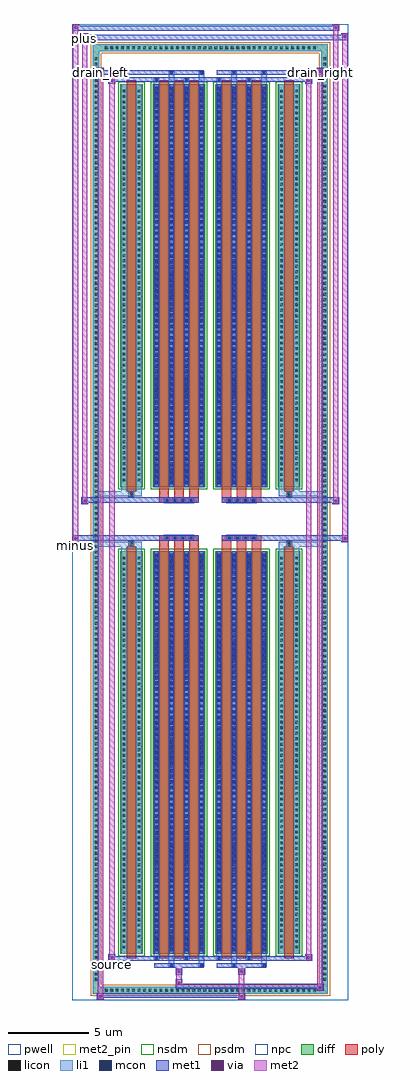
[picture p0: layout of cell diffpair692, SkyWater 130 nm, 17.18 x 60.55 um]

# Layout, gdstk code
import gdstk
lib = gdstk.Library(unit=1e-6, precision=5e-09)
def R(c, l, rs):  # rectangles x0, y0, x1, y1
    for r in rs: c.add(gdstk.rectangle(r[:2], r[2:], *l))
def A(c, l, x, y, w, h, nx, ny, dx, dy):  # array of equal rectangles
    R(c, l, [(x+i*dx, y+j*dy, x+i*dx+w, y+j*dy+h) for i in range(nx) for j in range(ny)])
def P(c, l, *ps):  # polygons
    for p in ps: c.add(gdstk.Polygon(p, *l))
pwell = (64, 44)
diff = (65, 20)
poly = (66, 20)
licon = (66, 44)
li1 = (67, 20)
mcon = (67, 44)
met1 = (68, 20)
via = (68, 44)
met2_pin = (69, 16)
met2 = (69, 20)
nsdm = (93, 44)
psdm = (94, 20)
npc = (95, 20)

diffpair692 = lib.new_cell('diffpair692')
R(diffpair692, pwell, [(-8.57,-29.84,8.57,30.71), (-5.89,-28.03,-0.01,-0.805), (0.01,-28.03,5.89,-0.805), (-5.89,0.805,-0.01,28.03), (0.01,0.805,5.89,28.03)])
A(diffpair692, diff, -6.665, -29.44, 0.41, 0.41, 39, 2, 0.34, 58.47)
A(diffpair692, diff, -7.3, -28.765, 0.41, 0.41, 1, 169, 0, 0.34)
A(diffpair692, diff, 6.89, -28.765, 0.41, 0.41, 1, 169, 0, 0.34)
R(diffpair692, diff, [(-6.665,-29.44,6.665,-29.03), (-7.3,-28.765,-6.89,28.765), (6.89,-28.765,7.3,28.765), (-5.58,-26.985,-4.2,-1.985), (-3.56,-26.985,-0.32,-1.985), (0.32,-26.985,3.56,-1.985), (4.2,-26.985,5.58,-1.985), (-5.58,1.985,-4.2,26.985), (-3.56,1.985,-0.32,26.985), (0.32,1.985,3.56,26.985), (4.2,1.985,5.58,26.985), (-6.665,29.03,6.665,29.44)])
P(diffpair692, diff, [(7.3,29.44),(-7.3,29.44),(-7.3,-29.03),(-6.89,-29.03),(-6.89,29.03),(6.89,29.03),(6.89,-29.03),(-6.89,-29.03),(-7.3,-29.03),(-7.3,-29.44),(7.3,-29.44)])
A(diffpair692, poly, -3.17, -27.235, 0.6, 25.5, 3, 2, 0.93, 28.97)
A(diffpair692, poly, 0.71, -27.235, 0.6, 25.5, 3, 2, 0.93, 28.97)
A(diffpair692, poly, -3.17, -1.735, 0.6, 0.4, 3, 2, 0.93, 3.07)
A(diffpair692, poly, 0.71, -1.735, 0.6, 0.4, 3, 2, 0.93, 3.07)
A(diffpair692, poly, -2.855, -1.335, 0.33, 0.33, 4, 2, 0.5, 2.34)
A(diffpair692, poly, 1.025, -1.335, 0.33, 0.33, 4, 2, 0.5, 2.34)
R(diffpair692, poly, [(-5.19,-27.235,-4.59,-1.735), (4.59,-27.235,5.19,-1.735), (-5.055,-1.735,-4.725,-1.405), (-5.055,-1.735,-4.725,-1.405), (4.725,-1.735,5.055,-1.405), (4.725,-1.735,5.055,-1.405), (-3.17,-1.335,-0.71,-1.005), (0.71,-1.335,3.17,-1.005), (-3.17,1.005,-0.71,1.335), (0.71,1.005,3.17,1.335), (-5.055,1.405,-4.725,1.735), (-5.055,1.405,-4.725,1.735), (4.725,1.405,5.055,1.735), (4.725,1.405,5.055,1.735), (-5.19,1.735,-4.59,27.235), (4.59,1.735,5.19,27.235)])
A(diffpair692, licon, -6.545, -29.32, 0.17, 0.17, 39, 2, 0.34, 58.47)
A(diffpair692, licon, -7.18, -28.645, 0.17, 0.17, 1, 169, 0, 0.34)
A(diffpair692, licon, 7.01, -28.645, 0.17, 0.17, 1, 169, 0, 0.34)
A(diffpair692, licon, -5.44, -26.64, 0.17, 0.17, 1, 72, 0, 0.34)
A(diffpair692, licon, -4.51, -26.64, 0.17, 0.17, 1, 72, 0, 0.34)
A(diffpair692, licon, -3.42, -26.64, 0.17, 0.17, 4, 72, 0.93, 0.34)
A(diffpair692, licon, 0.46, -26.64, 0.17, 0.17, 4, 72, 0.93, 0.34)
A(diffpair692, licon, 4.34, -26.64, 0.17, 0.17, 1, 72, 0, 0.34)
A(diffpair692, licon, 5.27, -26.64, 0.17, 0.17, 1, 72, 0, 0.34)
A(diffpair692, licon, -2.775, -1.255, 0.17, 0.17, 4, 2, 0.5, 2.34)
A(diffpair692, licon, 1.105, -1.255, 0.17, 0.17, 4, 2, 0.5, 2.34)
A(diffpair692, licon, -5.44, 2.33, 0.17, 0.17, 1, 72, 0, 0.34)
A(diffpair692, licon, -4.51, 2.33, 0.17, 0.17, 1, 72, 0, 0.34)
A(diffpair692, licon, -3.42, 2.33, 0.17, 0.17, 4, 72, 0.93, 0.34)
A(diffpair692, licon, 0.46, 2.33, 0.17, 0.17, 4, 72, 0.93, 0.34)
A(diffpair692, licon, 4.34, 2.33, 0.17, 0.17, 1, 72, 0, 0.34)
A(diffpair692, licon, 5.27, 2.33, 0.17, 0.17, 1, 72, 0, 0.34)
R(diffpair692, licon, [(-4.975,-1.655,-4.805,-1.485), (4.805,-1.655,4.975,-1.485), (-4.975,1.485,-4.805,1.655), (4.805,1.485,4.975,1.655)])
A(diffpair692, li1, -6.625, -29.4, 0.33, 0.33, 39, 2, 0.34, 58.47)
A(diffpair692, li1, -7.26, -28.725, 0.33, 0.33, 1, 169, 0, 0.34)
A(diffpair692, li1, 6.93, -28.725, 0.33, 0.33, 1, 169, 0, 0.34)
A(diffpair692, li1, -3.5, -26.985, 0.33, 25, 4, 2, 0.93, 28.97)
A(diffpair692, li1, 0.38, -26.985, 0.33, 25, 4, 2, 0.93, 28.97)
A(diffpair692, li1, -3.42, -26.81, 0.17, 0.17, 4, 69, 0.93, 0.36)
A(diffpair692, li1, -3.42, -26.81, 0.17, 24.65, 4, 2, 0.93, 28.97)
A(diffpair692, li1, 0.46, -26.81, 0.17, 0.17, 4, 69, 0.93, 0.36)
A(diffpair692, li1, 0.46, -26.81, 0.17, 24.65, 4, 2, 0.93, 28.97)
A(diffpair692, li1, -5.52, -26.72, 0.33, 0.33, 1, 72, 0, 0.34)
A(diffpair692, li1, -4.59, -26.72, 0.33, 0.33, 1, 72, 0, 0.34)
A(diffpair692, li1, -3.5, -26.72, 0.33, 0.33, 4, 72, 0.93, 0.34)
A(diffpair692, li1, 0.38, -26.72, 0.33, 0.33, 4, 72, 0.93, 0.34)
A(diffpair692, li1, 4.26, -26.72, 0.33, 0.33, 1, 72, 0, 0.34)
A(diffpair692, li1, 5.19, -26.72, 0.33, 0.33, 1, 72, 0, 0.34)
A(diffpair692, li1, -2.855, -1.335, 0.33, 0.33, 4, 2, 0.5, 2.34)
A(diffpair692, li1, 1.025, -1.335, 0.33, 0.33, 4, 2, 0.5, 2.34)
A(diffpair692, li1, -3.42, 2.16, 0.17, 0.17, 4, 69, 0.93, 0.36)
A(diffpair692, li1, 0.46, 2.16, 0.17, 0.17, 4, 69, 0.93, 0.36)
A(diffpair692, li1, -5.52, 2.25, 0.33, 0.33, 1, 72, 0, 0.34)
A(diffpair692, li1, -4.59, 2.25, 0.33, 0.33, 1, 72, 0, 0.34)
A(diffpair692, li1, -3.5, 2.25, 0.33, 0.33, 4, 72, 0.93, 0.34)
A(diffpair692, li1, 0.38, 2.25, 0.33, 0.33, 4, 72, 0.93, 0.34)
A(diffpair692, li1, 4.26, 2.25, 0.33, 0.33, 1, 72, 0, 0.34)
A(diffpair692, li1, 5.19, 2.25, 0.33, 0.33, 1, 72, 0, 0.34)
R(diffpair692, li1, [(-7.3,-29.44,-6.89,-29.03), (-7.3,-29.44,-6.89,-29.03), (-6.89,-29.44,6.89,-29.03), (6.89,-29.44,7.3,-29.03), (6.89,-29.44,7.3,-29.03), (-7.3,-29.03,-6.89,29.03), (6.89,-29.03,7.3,29.03), (-2.57,-27.79,-2.24,-26.985), (-2.49,-27.79,-2.32,-27.62), (-0.71,-27.79,-0.38,-26.985), (-0.63,-27.79,-0.46,-27.62), (1.31,-27.79,1.64,-26.985), (1.39,-27.79,1.56,-27.62), (3.17,-27.79,3.5,-26.985), (3.25,-27.79,3.42,-27.62), (-3.5,-27.36,-3.17,-26.985), (-3.42,-27.36,-3.25,-27.19), (-1.64,-27.36,-1.31,-26.985), (-1.56,-27.36,-1.39,-27.19), (0.38,-27.36,0.71,-26.985), (0.46,-27.36,0.63,-27.19), (2.24,-27.36,2.57,-26.985), (2.32,-27.36,2.49,-27.19), (-5.52,-26.985,-5.19,-1.985), (-4.59,-26.985,-4.26,-1.985), (4.26,-26.985,4.59,-1.985), (5.19,-26.985,5.52,-1.985), (-5.52,-1.985,-5.19,-1.405), (-4.59,-1.985,-4.26,-1.405), (4.26,-1.985,4.59,-1.405), (5.19,-1.985,5.52,-1.405), (-7.3,-1.735,-5.055,-1.405), (-5.52,-1.735,-5.055,-1.405), (-5.055,-1.735,-4.725,-1.405), (-4.725,-1.735,-4.26,-1.405), (4.26,-1.735,4.725,-1.405), (4.725,-1.735,5.055,-1.405), (4.725,-1.735,7.3,-1.405), (5.055,-1.735,5.52,-1.405), (-7.3,1.405,-5.055,1.735), (-5.52,1.405,-5.055,1.735), (-5.52,1.405,-5.19,1.985), (-5.055,1.405,-4.725,1.735), (-4.725,1.405,-4.26,1.735), (-4.59,1.405,-4.26,1.985), (4.26,1.405,4.725,1.735), (4.26,1.405,4.59,1.985), (4.725,1.405,5.055,1.735), (4.725,1.405,7.3,1.735), (5.055,1.405,5.52,1.735), (5.19,1.405,5.52,1.985), (-5.52,1.985,-5.19,26.985), (-4.59,1.985,-4.26,26.985), (4.26,1.985,4.59,26.985), (5.19,1.985,5.52,26.985), (-3.5,26.985,-3.17,27.36), (-2.57,26.985,-2.24,27.79), (-1.64,26.985,-1.31,27.36), (-0.71,26.985,-0.38,27.79), (0.38,26.985,0.71,27.36), (1.31,26.985,1.64,27.79), (2.24,26.985,2.57,27.36), (3.17,26.985,3.5,27.79), (-3.42,27.19,-3.25,27.36), (-1.56,27.19,-1.39,27.36), (0.46,27.19,0.63,27.36), (2.32,27.19,2.49,27.36), (-2.49,27.62,-2.32,27.79), (-0.63,27.62,-0.46,27.79), (1.39,27.62,1.56,27.79), (3.25,27.62,3.42,27.79), (-7.3,29.03,-6.89,29.44), (-7.3,29.03,-6.89,29.44), (-6.89,29.03,6.89,29.44), (6.89,29.03,7.3,29.44), (6.89,29.03,7.3,29.44)])
A(diffpair692, mcon, -3.42, -26.81, 0.17, 0.17, 4, 69, 0.93, 0.36)
A(diffpair692, mcon, 0.46, -26.81, 0.17, 0.17, 4, 69, 0.93, 0.36)
A(diffpair692, mcon, -2.775, -1.255, 0.17, 0.17, 4, 2, 0.5, 2.34)
A(diffpair692, mcon, 1.105, -1.255, 0.17, 0.17, 4, 2, 0.5, 2.34)
A(diffpair692, mcon, -3.42, 2.16, 0.17, 0.17, 4, 69, 0.93, 0.36)
A(diffpair692, mcon, 0.46, 2.16, 0.17, 0.17, 4, 69, 0.93, 0.36)
R(diffpair692, mcon, [(-2.49,-27.79,-2.32,-27.62), (-0.63,-27.79,-0.46,-27.62), (1.39,-27.79,1.56,-27.62), (3.25,-27.79,3.42,-27.62), (-3.42,-27.36,-3.25,-27.19), (-1.56,-27.36,-1.39,-27.19), (0.46,-27.36,0.63,-27.19), (2.32,-27.36,2.49,-27.19), (-3.42,27.19,-3.25,27.36), (-1.56,27.19,-1.39,27.36), (0.46,27.19,0.63,27.36), (2.32,27.19,2.49,27.36), (-2.49,27.62,-2.32,27.79), (-0.63,27.62,-0.46,27.79), (1.39,27.62,1.56,27.79), (3.25,27.62,3.42,27.79)])
A(diffpair692, met1, -3.48, -26.985, 0.29, 25, 4, 2, 0.93, 28.97)
A(diffpair692, met1, 0.4, -26.985, 0.29, 25, 4, 2, 0.93, 28.97)
A(diffpair692, met1, -3.48, -26.87, 0.29, 0.29, 4, 69, 0.93, 0.36)
A(diffpair692, met1, 0.4, -26.87, 0.29, 0.29, 4, 69, 0.93, 0.36)
A(diffpair692, met1, -2.835, -1.315, 0.29, 0.29, 4, 2, 0.5, 2.34)
A(diffpair692, met1, 1.045, -1.315, 0.29, 0.29, 4, 2, 0.5, 2.34)
A(diffpair692, met1, -3.48, 2.1, 0.29, 0.29, 4, 69, 0.93, 0.36)
A(diffpair692, met1, 0.4, 2.1, 0.29, 0.29, 4, 69, 0.93, 0.36)
R(diffpair692, met1, [(-7.03,-29.84,-6.6,-29.41), (1.725,-29.84,2.155,-29.41), (-7.03,-29.7,2.155,-29.41), (6.6,-29.27,7.03,-28.84), (-2.155,-29.13,7.03,-28.84), (-2.155,-28.99,-1.725,-28.56), (-2.155,-28.28,-1.725,-27.85), (1.725,-28.28,2.155,-27.85), (-3.48,-27.85,-0.4,-27.56), (-2.55,-27.85,-2.26,-27.56), (-0.69,-27.85,-0.4,-27.56), (0.4,-27.85,3.48,-27.56), (1.33,-27.85,1.62,-27.56), (3.19,-27.85,3.48,-27.56), (-6.32,-27.42,-5.89,-26.99), (-6.32,-27.42,-3.48,-27.13), (-3.48,-27.42,-3.19,-27.13), (-3.48,-27.42,-0.4,-27.13), (-1.62,-27.42,-1.33,-27.13), (-0.4,-27.42,0.4,-27.13), (0.4,-27.42,0.69,-27.13), (0.4,-27.42,3.48,-27.13), (2.26,-27.42,2.55,-27.13), (3.48,-27.42,6.32,-27.13), (5.89,-27.42,6.32,-26.99), (-8.57,-1.435,-8.14,-1.005), (8.14,-1.435,8.57,-1.005), (-8.57,-1.335,-0.71,-1.005), (-3.17,-1.335,-0.71,-1.005), (0.71,-1.335,3.17,-1.005), (0.71,-1.335,8.57,-1.005), (-8,0.905,-7.57,1.335), (7.57,0.905,8,1.335), (-8,1.005,-3.17,1.335), (-3.17,1.005,-0.71,1.335), (0.71,1.005,3.17,1.335), (3.17,1.005,8,1.335), (-6.32,26.99,-5.89,27.42), (5.89,26.99,6.32,27.42), (-6.32,27.13,-3.48,27.42), (-3.48,27.13,-3.19,27.42), (-3.48,27.13,-0.4,27.42), (-1.62,27.13,-1.33,27.42), (-0.4,27.13,0.4,27.42), (0.4,27.13,0.69,27.42), (0.4,27.13,3.48,27.42), (2.26,27.13,2.55,27.42), (3.48,27.13,6.32,27.42), (-7.03,27.56,-6.6,27.99), (-7.03,27.56,-3.48,27.85), (-3.48,27.56,-0.4,27.85), (-2.55,27.56,-2.26,27.85), (-0.69,27.56,-0.4,27.85), (0.4,27.56,3.48,27.85), (1.33,27.56,1.62,27.85), (3.19,27.56,3.48,27.85), (3.48,27.56,7.03,27.85), (6.6,27.56,7.03,27.99), (-8,29.71,-7.57,30.14), (-8,29.71,-5.89,30.04), (-5.89,29.71,5.89,30.04), (5.89,29.71,8.57,30.04), (8.14,29.71,8.57,30.14), (-8.57,30.28,-8.14,30.71), (-8.57,30.28,-5.89,30.61), (-5.89,30.28,5.89,30.61), (5.89,30.28,8,30.61), (7.57,30.28,8,30.71)])
R(diffpair692, via, [(-6.89,-29.7,-6.74,-29.55), (1.865,-29.7,2.015,-29.55), (6.74,-29.13,6.89,-28.98), (-2.015,-28.85,-1.865,-28.7), (-2.015,-28.14,-1.865,-27.99), (1.865,-28.14,2.015,-27.99), (-6.18,-27.28,-6.03,-27.13), (6.03,-27.28,6.18,-27.13), (-8.43,-1.295,-8.28,-1.145), (8.28,-1.295,8.43,-1.145), (-7.86,1.045,-7.71,1.195), (7.71,1.045,7.86,1.195), (-6.18,27.13,-6.03,27.28), (6.03,27.13,6.18,27.28), (-6.89,27.7,-6.74,27.85), (6.74,27.7,6.89,27.85), (-7.86,29.85,-7.71,30), (8.28,29.85,8.43,30), (-8.43,30.42,-8.28,30.57), (7.71,30.42,7.86,30.57)])
R(diffpair692, met2_pin, [(-6.355,-27.87,-5.855,-27.37), (-8.605,-1.885,-8.105,-1.385), (-7.065,27.44,-6.565,27.94), (6.565,27.44,7.065,27.94), (-8.035,29.59,-7.535,30.09)])
R(diffpair692, met2, [(-6.98,-29.79,-6.65,-29.46), (-6.98,-29.79,-6.65,27.94), (1.775,-29.79,2.105,-29.46), (1.775,-29.46,2.105,-28.23), (6.65,-29.22,6.98,-28.89), (6.65,-29.22,6.98,27.94), (-2.105,-28.94,-1.775,-28.61), (-2.105,-28.61,-1.775,-28.23), (-2.105,-28.23,-1.775,-27.9), (1.775,-28.23,2.105,-27.9), (-6.27,-27.37,-5.94,-27.04), (-6.27,-27.37,-5.94,27.37), (5.94,-27.37,6.27,-27.04), (5.94,-27.37,6.27,27.37), (-8.52,-1.385,-8.19,-1.055), (-8.52,-1.385,-8.19,30.66), (8.19,-1.385,8.52,-1.055), (8.19,-1.385,8.52,30.09), (-7.95,0.955,-7.62,1.285), (-7.95,0.955,-7.62,30.09), (7.62,0.955,7.95,1.285), (7.62,0.955,7.95,30.66), (-6.27,27.04,-5.94,27.37), (5.94,27.04,6.27,27.37), (-6.98,27.61,-6.65,27.94), (6.65,27.61,6.98,27.94), (-7.95,29.76,-7.62,30.09), (8.19,29.76,8.52,30.09), (-8.52,30.33,-8.19,30.66), (7.62,30.33,7.95,30.66)])
P(diffpair692, met2, [(8.52,-1.385),(8.52,-1.385),(8.52,-1.055),(8.52,-1.055)],
  [(8.52,29.76),(8.52,29.76),(8.52,30.09),(8.52,30.09)],
  [(-8.19,-1.385),(-8.19,-1.385),(-8.19,-1.055),(-8.19,-1.055)],
  [(-8.19,30.33),(-8.19,30.33),(-8.19,30.66),(-8.19,30.66)],
  [(7.95,0.955),(7.95,0.955),(7.95,1.285),(7.95,1.285)],
  [(7.95,30.33),(7.95,30.33),(7.95,30.66),(7.95,30.66)],
  [(-7.62,0.955),(-7.62,0.955),(-7.62,1.285),(-7.62,1.285)],
  [(-7.62,29.76),(-7.62,29.76),(-7.62,30.09),(-7.62,30.09)],
  [(-6.65,-29.79),(-6.65,-29.79),(-6.65,-29.46),(-6.65,-29.46)],
  [(-6.65,27.61),(-6.65,27.61),(-6.65,27.94),(-6.65,27.94)],
  [(6.98,-29.22),(6.98,-29.22),(6.98,-28.89),(6.98,-28.89)],
  [(6.98,27.61),(6.98,27.61),(6.98,27.94),(6.98,27.94)],
  [(-5.94,-27.37),(-5.94,-27.37),(-5.94,-27.04),(-5.94,-27.04)],
  [(-5.94,27.04),(-5.94,27.04),(-5.94,27.37),(-5.94,27.37)],
  [(6.27,-27.37),(6.27,-27.37),(6.27,-27.04),(6.27,-27.04)],
  [(6.27,27.04),(6.27,27.04),(6.27,27.37),(6.27,27.37)])
R(diffpair692, nsdm, [(-5.71,-27.115,-4.07,-1.855), (-3.69,-27.115,-0.19,-1.855), (0.19,-27.115,3.69,-1.855), (4.07,-27.115,5.71,-1.855), (-5.71,1.855,-4.07,27.115), (-3.69,1.855,-0.19,27.115), (0.19,1.855,3.69,27.115), (4.07,1.855,5.71,27.115)])
P(diffpair692, psdm, [(7.43,29.57),(-7.43,29.57),(-7.43,-28.9),(-6.76,-28.9),(-6.76,28.9),(6.76,28.9),(6.76,-28.9),(-6.76,-28.9),(-7.43,-28.9),(-7.43,-29.57),(7.43,-29.57)])
A(diffpair692, npc, -2.875, -1.355, 0.37, 0.37, 4, 2, 0.5, 2.34)
A(diffpair692, npc, 1.005, -1.355, 0.37, 0.37, 4, 2, 0.5, 2.34)
R(diffpair692, npc, [(-5.075,-1.755,-4.705,-1.385), (4.705,-1.755,5.075,-1.385), (-2.875,-1.355,-2.005,-0.985), (-2.875,-1.355,-2.005,-0.985), (-2.375,-1.355,-1.505,-0.985), (-2.375,-1.355,-1.505,-0.985), (-1.875,-1.355,-1.005,-0.985), (-1.875,-1.355,-1.005,-0.985), (1.005,-1.355,1.875,-0.985), (1.005,-1.355,1.875,-0.985), (1.505,-1.355,2.375,-0.985), (1.505,-1.355,2.375,-0.985), (2.005,-1.355,2.875,-0.985), (2.005,-1.355,2.875,-0.985), (-2.875,0.985,-2.005,1.355), (-2.875,0.985,-2.005,1.355), (-2.375,0.985,-1.505,1.355), (-2.375,0.985,-1.505,1.355), (-1.875,0.985,-1.005,1.355), (-1.875,0.985,-1.005,1.355), (1.005,0.985,1.875,1.355), (1.005,0.985,1.875,1.355), (1.505,0.985,2.375,1.355), (1.505,0.985,2.375,1.355), (2.005,0.985,2.875,1.355), (2.005,0.985,2.875,1.355), (-5.075,1.385,-4.705,1.755), (4.705,1.385,5.075,1.755)])
diffpair692.add(gdstk.Label('minus', (-8.355,-1.635), layer=69, texttype=5))
diffpair692.add(gdstk.Label('drain_right', (6.815,27.69), layer=69, texttype=5))
diffpair692.add(gdstk.Label('drain_left', (-6.815,27.69), layer=69, texttype=5))
diffpair692.add(gdstk.Label('source', (-6.105,-27.62), layer=69, texttype=5))
diffpair692.add(gdstk.Label('plus', (-7.785,29.84), layer=69, texttype=5))

lib.write_gds('diffpair692.gds')
